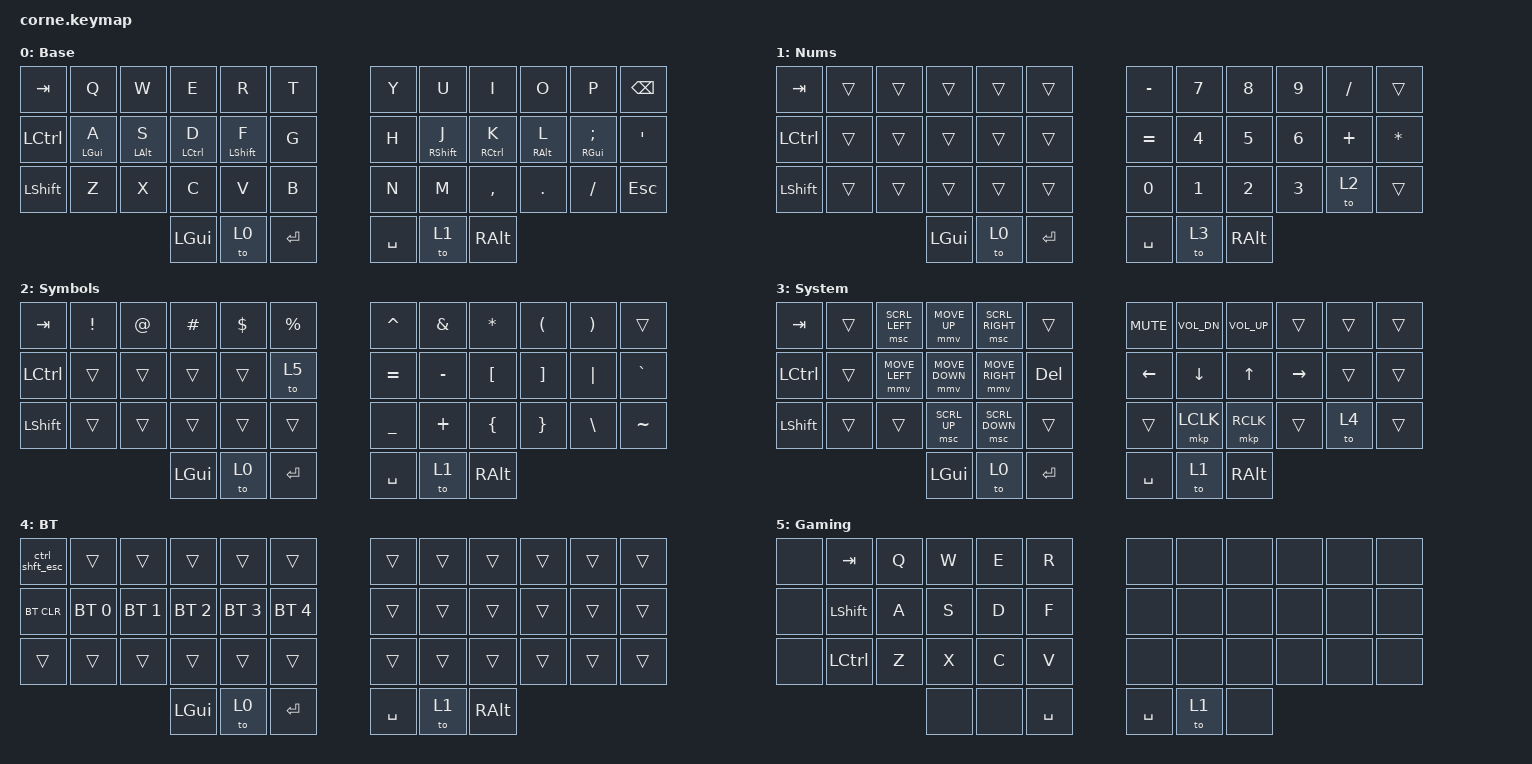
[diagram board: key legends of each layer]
/*
 * Copyright (c) 2020 The ZMK Contributors
 *
 * SPDX-License-Identifier: MIT
 */

#include <behaviors.dtsi>
#include <dt-bindings/zmk/keys.h>
#include <dt-bindings/zmk/bt.h>
#include <dt-bindings/zmk/mouse.h>
#include <behaviors/mouse_move.dtsi>
#include <behaviors/mouse_scroll.dtsi>

//////////////////////////////////////////////////////////////////////
// NOTE: Use the `#define` settings below to customize this keymap! //
// You can override them here instead of modifying them down there. //
// /* EXAMPLE: */  #define EMOJI_HAIR_STYLE_PRESET 3 // curly_hair  //
//////////////////////////////////////////////////////////////////////
//
// Sunaku's Keymap v30 -- "Glorious Engrammer"
// - https://github.com/sunaku/glove80-keymaps
//
//////////////////////////////////////////////////////////////////////

/ {
        behaviors {

                //////////////////////////////////////////////////////////////////////////
                //
                // Miryoku layers and home row mods (ported from my QMK endgame)
                // - https://sunaku.github.io/home-row-mods.html#porting-to-zmk
                // - https://github.com/urob/zmk-config#timeless-homerow-mods
                //
                //////////////////////////////////////////////////////////////////////////

                //
                // HOMEY_HOLDING_TYPE defines the flavor of ZMK hold-tap behavior to use
                // for the pinky, ring, and middle fingers (which are assigned to Super,
                // Alt, and Ctrl respectively in the Miryoku system) on home row keys.
                //
                #ifndef HOMEY_HOLDING_TYPE
                #define HOMEY_HOLDING_TYPE "tap-preferred"
                #endif

                //
                // HOMEY_HOLDING_TIME defines how long you need to hold (milliseconds)
                // home row mod keys in order to send their modifiers to the computer
                // (i.e. "register" them) for mod-click mouse usage (e.g. Ctrl-Click).
                //
                #ifndef HOMEY_HOLDING_TIME
                #define HOMEY_HOLDING_TIME 270 // TAPPING_TERM + ALLOW_CROSSOVER_AFTER
                #endif

                //
                // HOMEY_STREAK_DECAY defines how long you need to wait (milliseconds)
                // after typing before you can use home row mods again.  It prevents
                // unintended activation of home row mods when you're actively typing.
                //
                #ifndef HOMEY_STREAK_DECAY
                #define HOMEY_STREAK_DECAY 170 // global-quick-tap-ms
                #endif

                //
                // HOMEY_REPEAT_DECAY defines how much time you have left (milliseconds)
                // after tapping a key to hold it again in order to make it auto-repeat.
                //
                #ifndef HOMEY_REPEAT_DECAY
                #define HOMEY_REPEAT_DECAY 300 // "tap then hold" for key auto-repeat
                #endif

                //
                // SHIFT_HOLDING_TYPE defines the flavor of ZMK hold-tap behavior to use
                // for index fingers (which Miryoku assigns to Shift) on home row keys.
                //
                // NOTE: The "tap-preferred" flavor of ZMK hold-tap for index finger keys
                // allows faster activation of the Shift modifier (without having to wait
                // for the modified key to be released as the "balanced" flavor requires).
                // Typing streaks and the `hold-trigger-on-release` setting are disabled
                // for the index fingers so as not to hinder their speed and dexterity.
                //
                #ifndef SHIFT_HOLDING_TYPE
                #define SHIFT_HOLDING_TYPE "tap-preferred"
                #endif

                //
                // SHIFT_HOLDING_TIME defines how long you need to hold (milliseconds)
                // index finger keys in order to send their modifiers to the computer
                // (i.e. "register" them) for mod-click mouse usage (e.g. Shift-Click).
                //
                // CAUTION: You'll need to perform inward rolls from pinky->ring->middle
                // fingers toward the index fingers when activating multiple modifiers
                // because `hold-trigger-on-release` is disabled for the index fingers.
                // Otherwise, you may be surprised that the index fingers' modifier is
                // sent immediately without the rest of your multi-mod chord when you
                // perform outward rolls from your index fingers toward your pinkies.
                //
                #ifndef SHIFT_HOLDING_TIME
                #define SHIFT_HOLDING_TIME 170
                #endif

                //
                // SHIFT_STREAK_DECAY defines how long you need to wait (milliseconds)
                // after typing before you can use home row mods again.  It prevents
                // unintended activation of home row mods when you're actively typing.
                //
                #ifndef SHIFT_STREAK_DECAY
                #define SHIFT_STREAK_DECAY 70 // global-quick-tap-ms
                #endif

                //
                // SHIFT_REPEAT_DECAY defines how much time you have left (milliseconds)
                // after tapping a key to hold it again in order to make it auto-repeat.
                //
                #ifndef SHIFT_REPEAT_DECAY
                #define SHIFT_REPEAT_DECAY 300 // "tap then hold" for key auto-repeat
                #endif

                //
                // THUMB_HOLDING_TYPE defines the flavor of ZMK hold-tap behavior to use
                // for the thumbs (which are assigned to 6 layers in the Miryoku system).
                //
                // NOTE: The "balanced" flavor of ZMK hold-tap provides instant modifier
                // activation for the symbol layer (if the tapped symbol key is released
                // while the thumb layer key is still held down) for quicker programming.
                //
                #ifndef THUMB_HOLDING_TYPE
                #define THUMB_HOLDING_TYPE "balanced"
                #endif

                //
                // THUMB_HOLDING_TIME defines how long you need to hold (milliseconds)
                // a thumb key to activate a layer.  Shorter holds are treated as taps.
                //
                #ifndef THUMB_HOLDING_TIME
                #define THUMB_HOLDING_TIME 200
                #endif

                //
                // THUMB_REPEAT_DECAY defines how much time you have left (milliseconds)
                // after tapping a key to hold it again in order to make it auto-repeat.
                //
                #ifndef THUMB_REPEAT_DECAY
                #define THUMB_REPEAT_DECAY 300 // "tap then hold" for key auto-repeat
                #endif

                //
                // SPACE_HOLDING_TIME defines how long you need to hold (milliseconds)
                // the space thumb key to activate.  Shorter holds are treated as taps.
                //
                #ifndef SPACE_HOLDING_TIME
                #define SPACE_HOLDING_TIME 170
                #endif

                //
                // SPACE_REPEAT_DECAY defines how much time you have left (milliseconds)
                // after tapping a key to hold it again in order to make it auto-repeat.
                //
                #ifndef SPACE_REPEAT_DECAY
                #define SPACE_REPEAT_DECAY 200 // "tap then hold" for key auto-repeat
                #endif

                //
                // Corne key positions index for positional hold-tap
                // - https://discord.com/channels/877392805654306816/937645688244826154/1066713913351221248
                // - https://media.discordapp.net/attachments/937645688244826154/1066713913133121556/image.png
                //
                // |------------------------|------------------------|
                // | LEFT_HAND_KEYS         |        RIGHT_HAND_KEYS |
                // |                        |                        |
                // |  0  1  2  3  4  5      |      6  7  8  9  10 11 |
                // | 12 13 14 15 16 17      |      18 19 20 21 22 23 |
                // | 24 25 26 27 28 29      |      30 31 32 33 34 35 |
                // |          36 37 38      |      39 40 41          |
                // |------------------------|------------------------|
                //
                #define LEFT_HAND_KEYS         \
                         0  1  2  3  4  5      \
                        12 13 14 15 16 17      \
                        24 25 26 27 28 29      \
                #define RIGHT_HAND_KEYS        \
                                         6  7  8  9 10 11 \
                                        18 19 20 21 22 23 \
                                        30 31 32 33 34 35 \
                #define THUMB_KEYS          \
                                36 37 38    39 40 41             \

                //
                // Home row mod-tap keys for all except index fingers
                //
                hml: corne_home_row_mods_left_hand {
                        compatible = "zmk,behavior-hold-tap";
                        label = "HOME_ROW_MODS_LEFT_HAND";
                        flavor = HOMEY_HOLDING_TYPE;
                        hold-trigger-key-positions = <6  7  8  9 10 11
                                                     18 19 20 21 22 23
                                                     30 31 32 33 34 35
                                                     36 37 38 39 40 41>;
                        hold-trigger-on-release; // wait for other home row mods
                        tapping-term-ms = <HOMEY_HOLDING_TIME>;
                        quick-tap-ms = <HOMEY_REPEAT_DECAY>;
                        require-prior-idle-ms = <HOMEY_STREAK_DECAY>;
                        #binding-cells = <2>;
                        bindings = <&kp>, <&kp>;
                };
                 hmr: corne_home_row_mods_right_hand {
                        compatible = "zmk,behavior-hold-tap";
                        label = "HOME_ROW_MODS_RIGHT_HAND";
                        flavor = HOMEY_HOLDING_TYPE;
                        hold-trigger-key-positions = <0  1  2  3  4  5
                                                     12 13 14 15 16 17
                                                     24 25 26 27 28 29
                                                     36 37 38 39 40 41>;
                        hold-trigger-on-release; // wait for other home row mods
                        tapping-term-ms = <HOMEY_HOLDING_TIME>;
                        quick-tap-ms = <HOMEY_REPEAT_DECAY>;
                        require-prior-idle-ms = <HOMEY_STREAK_DECAY>;
                        #binding-cells = <2>;
                        bindings = <&kp>, <&kp>;
                 };

                //
                // Special home row mod-tap keys for the index fingers
                //
                shl: corne_home_row_mods_left_shift_shift {
                        compatible = "zmk,behavior-hold-tap";
                        label = "HOME_ROW_MODS_LEFT_SHIFT_SHIFT";
                        flavor = SHIFT_HOLDING_TYPE;
                        hold-trigger-key-positions = <6  7  8  9 10 11
                                                     18 19 20 21 22 23
                                                     30 31 32 33 34 35
                                                     36 37 38 39 40 41>;
                        //hold-trigger-on-release; // don't wait for other mods
                        tapping-term-ms = <SHIFT_HOLDING_TIME>;
                        quick-tap-ms = <SHIFT_REPEAT_DECAY>;
                        require-prior-idle-ms = <SHIFT_STREAK_DECAY>;
                        #binding-cells = <2>;
                        bindings = <&kp>, <&kp>;
                };
                shr: corne_home_row_mods_right_shift_shift {
                        compatible = "zmk,behavior-hold-tap";
                        label = "HOME_ROW_MODS_RIGHT_SHIFT_SHIFT";
                        flavor = SHIFT_HOLDING_TYPE;
                        hold-trigger-key-positions = <0  1  2  3  4  5
                                                     12 13 14 15 16 17
                                                     24 25 26 27 28 29
                                                     36 37 38 39 40 41>;
                        //hold-trigger-on-release; // don't wait for other mods
                        tapping-term-ms = <SHIFT_HOLDING_TIME>;
                        quick-tap-ms = <SHIFT_REPEAT_DECAY>;
                        require-prior-idle-ms = <SHIFT_STREAK_DECAY>;
                        #binding-cells = <2>;
                        bindings = <&kp>, <&kp>;
                };
        };

        macros {
                ctrl_shft_esc: ctrl_shft_esc {
                        compatible = "zmk,behavior-macro";
                        #binding-cells = <0>;
                        bindings
                                = <&macro_press &kp LCTRL &kp LSHFT>
                                , <&macro_tap &kp ESC>
                                , <&macro_release &kp LCTRL &kp LSHFT>
                                ;
                        };
                };

        combos {
                compatible = "zmk,combos";
                combo_tab {
                        timeout-ms = <50>;
                        key-positions = <1 2>;
                        bindings = <&kp TAB>;
                        layers = <0 1 2 3>;
                };
                combo_bspc {
                        timeout-ms = <50>;
                        key-positions = <9 10>;
                        bindings = <&kp BSPC>;
                        layers = <0 1 2 3>;
                };
                combo_sqt {
                        timeout-ms = <50>;
                        key-positions = <21 22>;
                        bindings = <&kp SQT>;
                        layers = <0>;
                };
                combo_star {
                        timeout-ms = <50>;
                        key-positions = <21 22>;
                        bindings = <&kp STAR>;
                        layers = <1>;
                };
                combo_esc {
                        timeout-ms = <50>;
                        key-positions = <33 34>;
                        bindings = <&kp ESC>;
                        layers = <0 3>;
                };
        };

        keymap {
                compatible = "zmk,keymap";

                default_layer {
// -----------------------------------------------------------------------------------------
// |  TAB |  Q  |  W  |  E  |  R  |  T  |   |  Y  |  U   |  I  |  O  |  P  | BKSP |
// | CTRL |  A  |  S  |  D  |  F  |  G  |   |  H  |  J   |  K  |  L  |  ;  |  '   |
// | SHFT |  Z  |  X  |  C  |  V  |  B  |   |  N  |  M   |  ,  |  .  |  /  | ESC  |
//                    | GUI | L-0 | ENT |   | SPC | L-1  | ALT |
                        label = "Base";
                        bindings = <
   &kp TAB    &kp Q       &kp W        &kp E         &kp R          &kp T    &kp Y      &kp U          &kp I         &kp O        &kp P          &kp BSPC
   &kp LCTRL  &hml LGUI A &hml LALT S  &hml LCTRL D  &shl LSHIFT F  &kp G    &kp H      &shr RSHIFT J  &hmr RCTRL K  &hmr RALT L  &hmr RGUI SEMI &kp SQT
   &kp LSHFT  &kp Z       &kp X        &kp C         &kp V          &kp B    &kp N      &kp M          &kp COMMA     &kp DOT      &kp FSLH       &kp ESC
                                       &kp LGUI      &to 0          &kp RET  &kp SPACE  &to 1          &kp RALT
                        >;
                };

                nums_layer {
// -----------------------------------------------------------------------------------------
// |  TAB |     |     |     |     |     |   |  -  |  7  |  8  |  9  |  /  |     |
// | CTRL |     |     |     |     |     |   |  =  |  4  |  5  |  6  |  +  |  *  |
// | SHFT |     |     |     |     |     |   |  0  |  1  |  2  |  3  | L-2 |     |
//                    | GUI | L-0 | ENT |   | SPC | L-3 | ALT |
                        label = "Nums";
                        bindings = <
   &kp TAB   &trans &trans &trans &trans &trans   &kp MINUS &kp N7 &kp N8 &kp N9 &kp FSLH &trans
   &kp LCTRL &trans &trans &trans &trans &trans   &kp EQUAL &kp N4 &kp N5 &kp N6 &kp PLUS &kp STAR
   &kp LSHFT &trans &trans &trans &trans &trans   &kp N0    &kp N1 &kp N2 &kp N3 &to 2    &trans
                        &kp LGUI &to 0  &kp RET   &kp SPACE &to 3 &kp RALT
                        >;
                };

                syms_layer {
// -----------------------------------------------------------------------------------------
// |  TAB |  !  |  @  |  #  |  $  |  %  |   |  ^  |  &  |  *  |  (  |  )  |     |
// | CTRL |     |     |     |     | L-5 |   |  =  |  -  |  [  |  ]  | "|" |  `  |
// | SHFT |     |     |     |     |     |   |  _  |  +  |  {  |  }  |  \  |  ~  |
//                    | GUI | L-0 | ENT |   | SPC | L-1 | ALT |
                        label = "Symbols";
                        bindings = <
   &kp  TAB  &kp EXCL &kp AT &kp HASH &kp DLLR &kp PRCNT   &kp CARET &kp AMPS  &kp STAR &kp LPAR &kp RPAR &trans
   &kp LCTRL &trans   &trans &trans   &trans   &to 5       &kp EQUAL &kp MINUS &kp LBKT &kp RBKT &kp PIPE &kp GRAVE
   &kp LSHFT &trans   &trans &trans   &trans   &trans      &kp UNDER &kp PLUS  &kp LBRC &kp RBRC &kp BSLH &kp TILDE
                    	     &kp LGUI &to 0    &kp RET     &kp SPACE &to 1     &kp RALT
                        >;
                };

                sys_layer {
// -----------------------------------------------------------------------------------------
// |  TAB |     | SCRL |  MSU | SCRR |     |   | MUTE | VOLD | VOLU |     |     |     |
// | CTRL |     |  MSL |  MSD | MSR  | DEL |   |  LFT |  DWN |   UP | RGT |     |     |
// | SHFT |     |      | SCRU | SCRD |     |   |      | LCLK | RCLK |     | L-4 |     |
//                     |  GUI |  L-0 | ENT |   |  SPC |  L-1 |  ALT |
                        label = "System";
                        bindings = <
   &kp TAB   &trans &msc SCRL_LEFT &mmv MOVE_UP   &msc SCRL_RIGHT &trans        &kp C_MUTE &kp C_VOL_DN &kp C_VOL_UP &trans    &trans &trans
   &kp LCTRL &trans &mmv MOVE_LEFT   &mmv MOVE_DOWN &mmv MOVE_RIGHT   &kp DEL   &kp LEFT   &kp DOWN     &kp UP       &kp RIGHT &trans &trans 
   &kp LSHFT &trans &trans           &msc SCRL_UP   &msc SCRL_DOWN    &trans    &trans     &mkp LCLK    &mkp RCLK    &trans    &to 4  &trans 
                                     &kp LGUI       &to 0             &kp RET   &kp SPACE  &to 1        &kp RALT 
                        >;
                };

                bt_layer{
// -----------------------------------------------------------------------------------------
// | CTRL-SHFT-ESC |     |     |     |     |     |   |     |     |     |     |     |      |
// | BTCLR         | BT1 | BT2 | BT3 | BT4 | BT5 |   |     |     |     |     |     |      |
// |               |     |     |     |     |     |   |     |     |     |     |     |      |
//                    | GUI | L-0 | ENT |   | SPC | L-1 | ALT |
                        label = "BT";
                        bindings = <
   &ctrl_shft_esc &trans       &trans       &trans       &trans       &trans         &trans    &trans &trans   &trans &trans &trans
   &bt BT_CLR     &bt BT_SEL 0 &bt BT_SEL 1 &bt BT_SEL 2 &bt BT_SEL 3 &bt BT_SEL 4   &trans    &trans &trans   &trans &trans &trans
   &trans         &trans       &trans       &trans       &trans       &trans         &trans    &trans &trans   &trans &trans &trans
                                        &kp LGUI     &to 0        &kp RET        &kp SPACE &to 1  &kp RALT 
                        >;
                };

                gaming_layer{
// -----------------------------------------------------------------------------------------
//       ESC
// |  TAB |  Q  |  W  |  E  |  R  |   |     |     |     |     |     |
// | SHFT |  A  |  S  |  D  |  F  |   |     |     |     |     |     |
// | CTRL |  Z  |  X  |  C  |  V  |   |     |     |     |     |     |
//                    |     | SPC |   | SPC | L-1 |
                        label = "Gaming";
                        bindings = <
   &none &kp TAB   &kp Q &kp W &kp E &kp R     &none      &none &none &none &none &none
   &none &kp LSHFT &kp A &kp S &kp D &kp F     &none      &none &none &none &none &none
   &none &kp LCTRL &kp Z &kp X &kp C &kp V     &none      &none &none &none &none &none
                         &none &none &kp SPACE &kp SPACE  &to 1 &none
                        >;
                };
        };
};
